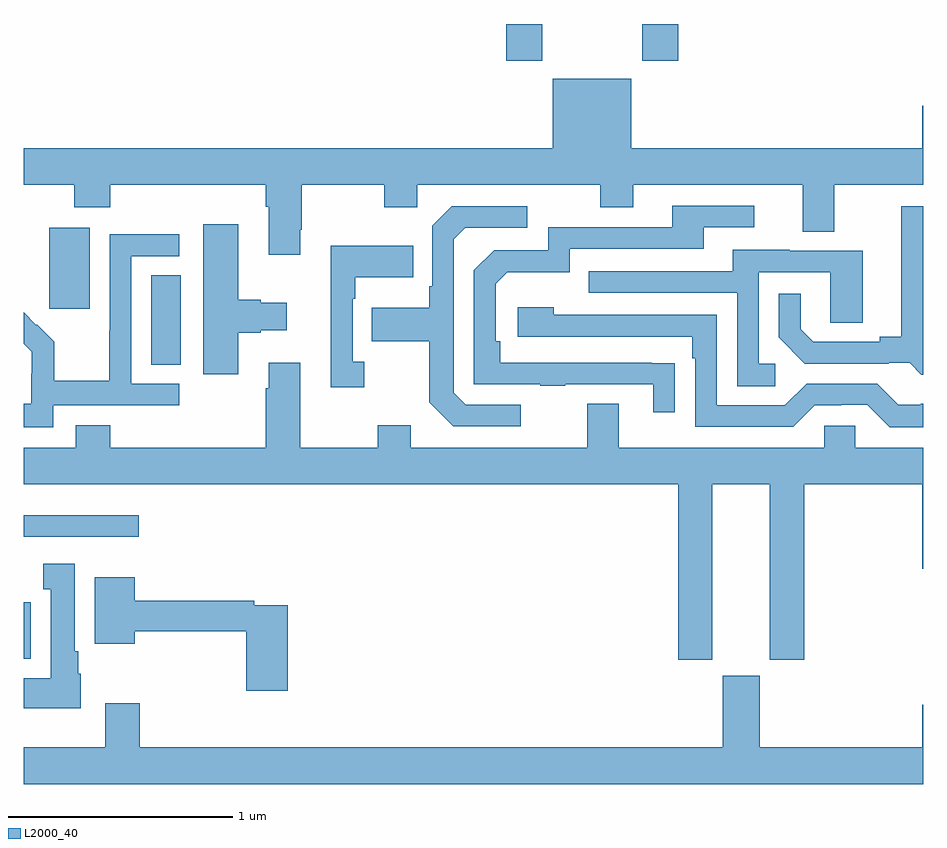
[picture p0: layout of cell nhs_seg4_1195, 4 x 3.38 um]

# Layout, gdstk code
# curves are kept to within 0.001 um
import gdstk
lib = gdstk.Library(unit=1e-6, precision=1e-09)
def R(c, l, rs):  # rectangles x0, y0, x1, y1
    for r in rs: c.add(gdstk.rectangle(r[:2], r[2:], *l))
def P(c, l, *ps):  # polygons
    for p in ps: c.add(gdstk.Polygon(p, *l))
L2000_40 = (2000, 40)

nhs_seg4_1195 = lib.new_cell('nhs_seg4_1195')
R(nhs_seg4_1195, L2000_40, [(173,764.078,173.031,764.329), (173,764.619,173.512,764.716), (173.567,765.385,173.698,765.782), (173.114,765.633,173.293,765.994), (175.145,766.737,175.305,766.9), (175.75,766.737,175.91,766.9)])
P(nhs_seg4_1195, L2000_40, [(175.352,766.348),(173,766.348),(173,766.184),(173.224,766.184),(173.224,766.085),(173.384,766.085),(173.384,766.184),(174.077,766.184),(174.077,766.088),(174.089,766.088),(174.089,765.873),(174.229,765.873),(174.229,765.985),(174.237,765.985),(174.237,766.184),(174.604,766.184),(174.604,766.085),(174.75,766.085),(174.75,766.184),(175.564,766.184),(175.564,766.085),(175.711,766.085),(175.711,766.184),(176.465,766.184),(176.465,765.976),(176.605,765.976),(176.605,766.184),(177,766.184),(177,766.537),(176.996,766.537),(176.996,766.348),(175.702,766.348),(175.702,766.657),(175.352,766.657)],
  [(175.895,765.392),(175.118,765.393),(175.118,765.49),(175.098,765.49),(175.098,765.744),(175.151,765.797),(175.428,765.797),(175.428,765.9),(176.023,765.9),(176.023,765.996),(176.248,765.996),(176.248,766.092),(175.883,766.092),(175.883,765.996),(175.332,765.996),(175.332,765.894),(175.092,765.894),(175.002,765.804),(175.002,765.297),(175.297,765.297),(175.297,765.292),(175.409,765.292),(175.409,765.297),(175.799,765.297),(175.799,765.174),(175.895,765.174)],
  [(175.21,765.207),(174.966,765.207),(174.912,765.261),(174.912,765.942),(174.963,765.993),(175.24,765.993),(175.24,766.089),(174.903,766.089),(174.816,766.002),(174.816,765.733),(174.804,765.733),(174.804,765.637),(174.547,765.637),(174.547,765.49),(174.804,765.49),(174.804,765.217),(174.909,765.111),(175.21,765.111)],
  [(177,766.089),(176.903,766.089),(176.903,765.509),(176.807,765.509),(176.807,765.486),(176.512,765.486),(176.455,765.543),(176.455,765.7),(176.358,765.7),(176.358,765.506),(176.474,765.39),(176.846,765.39),(176.846,765.393),(176.94,765.393),(176.992,765.341),(177,765.341)],
  [(173.953,765.527),(174.053,765.527),(174.053,765.539),(174.169,765.539),(174.169,765.661),(174.053,765.661),(174.053,765.674),(173.953,765.674),(173.953,766.009),(173.798,766.009),(173.798,765.342),(173.953,765.342)],
  [(173.13,765.204),(173.692,765.204),(173.692,765.3),(173.478,765.3),(173.478,765.867),(173.692,765.867),(173.692,765.966),(173.382,765.966),(173.382,765.536),(173.38,765.536),(173.38,765.313),(173.135,765.313),(173.135,765.487),(173.058,765.564),(173.055,765.561),(173,765.617),(173,765.478),(173.036,765.442),(173.036,765.345),(173.034,765.345),(173.034,765.211),(173,765.211),(173,765.107),(173.13,765.107)],
  [(174.514,765.398),(174.462,765.398),(174.462,765.677),(174.475,765.677),(174.475,765.773),(174.731,765.773),(174.731,765.913),(174.365,765.913),(174.365,765.285),(174.514,765.285)],
  [(176.341,765.39),(176.268,765.39),(176.268,765.795),(176.586,765.795),(176.586,765.571),(176.731,765.571),(176.731,765.891),(176.407,765.891),(176.407,765.895),(176.153,765.895),(176.153,765.801),(175.513,765.801),(175.513,765.705),(176.172,765.705),(176.172,765.289),(176.341,765.289)],
  [(177,765.211),(176.989,765.211),(176.989,765.207),(176.889,765.207),(176.796,765.3),(176.481,765.3),(176.385,765.204),(176.082,765.204),(176.082,765.606),(175.358,765.606),(175.358,765.64),(175.197,765.64),(175.197,765.51),(175.973,765.51),(175.973,765.413),(175.986,765.413),(175.986,765.108),(176.421,765.108),(176.517,765.204),(176.636,765.204),(176.636,765.207),(176.751,765.207),(176.851,765.107),(177,765.107)],
  [(176.062,764.852),(176.318,764.852),(176.318,764.073),(176.471,764.073),(176.471,764.852),(176.996,764.852),(176.996,764.478),(177,764.478),(177,765.016),(176.697,765.016),(176.697,765.114),(176.559,765.114),(176.559,765.016),(175.645,765.016),(175.645,765.211),(175.505,765.211),(175.505,765.016),(174.721,765.016),(174.721,765.115),(174.574,765.115),(174.574,765.016),(174.229,765.016),(174.229,765.394),(174.089,765.394),(174.089,765.281),(174.077,765.281),(174.077,765.016),(173.384,765.016),(173.384,765.115),(173.231,765.115),(173.231,765.016),(173,765.016),(173,764.852),(175.91,764.852),(175.91,764.073),(176.062,764.073)],
  [(173.254,764.01),(173.242,764.01),(173.242,764.11),(173.227,764.11),(173.227,764.5),(173.087,764.5),(173.087,764.387),(173.12,764.387),(173.12,763.99),(173,763.99),(173,763.856),(173.254,763.856)],
  [(174.173,764.316),(174.026,764.316),(174.026,764.336),(173.494,764.336),(173.494,764.44),(173.315,764.44),(173.315,764.144),(173.494,764.144),(173.494,764.2),(173.99,764.2),(173.99,763.935),(174.173,763.935)],
  [(177,763.873),(176.996,763.873),(176.996,763.684),(176.272,763.684),(176.272,764.001),(176.108,764.001),(176.108,763.684),(173.516,763.684),(173.516,763.879),(173.363,763.879),(173.363,763.684),(173,763.684),(173,763.52),(177,763.52)])

lib.write_gds('nhs_seg4_1195.gds')
